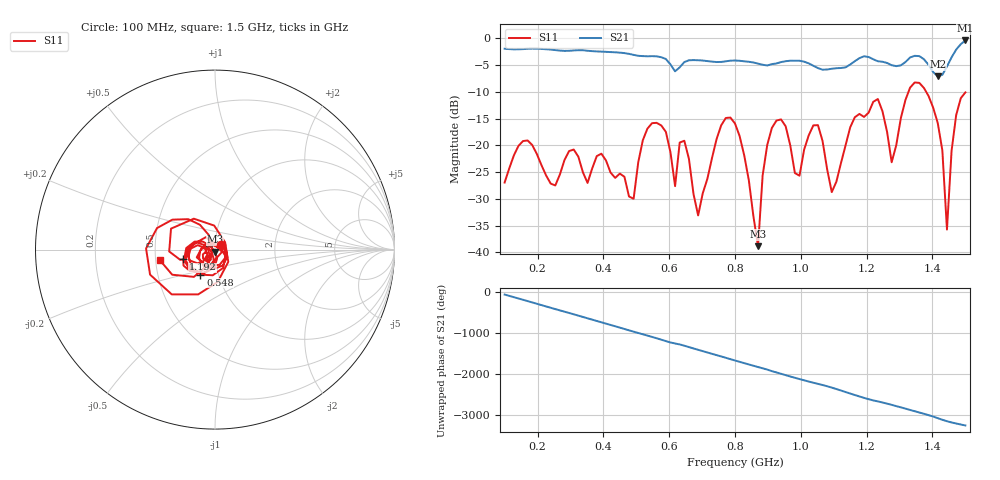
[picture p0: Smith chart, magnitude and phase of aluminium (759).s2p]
! NanoVNA-App
! Date: 2025-09-25 15:01:11
! Start: 100MHz Stop: 1,5GHz Points: 101
! S-Parameter data: F S11 S21 S12 S22
# Hz S RI R 50
!  Frequency  S11_Real  S11_Imag  S21_Real  S21_Imag  S12_Real  S12_Imag  S22_Real  S22_Imag
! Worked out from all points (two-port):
!   101 points, 100 MHz to 1.5 GHz, reference 50 ohm
!   highest |S21| = -0.37 dB at 1.5 GHz (marker M1); lowest = -7.1 dB at 1.416 GHz (marker M2)
!   |S21| within 3 dB of the highest: start of sweep to 564.8 MHz; 1.46 GHz to end of sweep (the widest 2 of 4)
!   lowest |S11| = -38.9 dB at 870 MHz (marker M3), VSWR 1.02, Z = 50 - j1.14 ohm
!   |S11| at or under -10 dB: start of sweep to 1.327 GHz; 1.381 GHz to end of sweep
!   S12 and S22 are empty: the file has one direction only
!   S11 on the Smith chart (normalised r, x): 100 MHz: 1.07, +0.06; 548 MHz: 0.82, -0.23; 1.192 GHz: 0.70, -0.08; 1.5 GHz: 0.53, -0.07
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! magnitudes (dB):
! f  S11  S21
! 100 MHz  -27.0  -1.9
! 338 MHz  -25.1  -2.2
! 492 MHz  -30.0  -3.1
! 548 MHz  -15.8  -3.3
! 576 MHz  -16.3  -3.5
! 618 MHz  -27.6  -6.1
! 646 MHz  -19.1  -4.4
! 688 MHz  -33.1  -4.1
! 800 MHz  -15.9  -4.1
! 870 MHz  -38.9  -4.7
! 912 MHz  -16.7  -4.8
! 996 MHz  -25.7  -4.2
! 1.038 GHz  -16.3  -5.1
! 1.094 GHz  -28.7  -5.7
! 1.192 GHz  -14.7  -3.3
! 1.234 GHz  -11.3  -4.3
! 1.276 GHz  -23.2  -5.0
! 1.346 GHz  -8.2  -3.2
! 1.416 GHz  -15.8  -7.1
! 1.444 GHz  -35.7  -5.2
! 1.472 GHz  -14.3  -2.1
! 1.5 GHz  -10.1  -0.4
